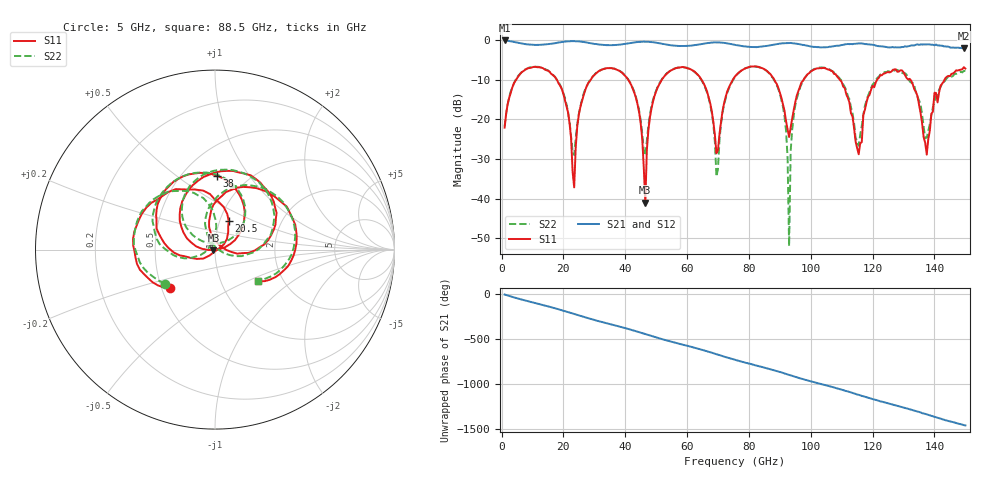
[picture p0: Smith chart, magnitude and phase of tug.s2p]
! hatab_megtron7_step30_4p0mm: multiline TRL calibrated (TUGMultilineTRL, scikit-rf 2.1.0)
! raw data ZiadHatab/verification-multiline-trl-calibration @ 021e735, mean of the repeated sweeps
! reference impedance: characteristic impedance of the 94 um 50 Ohm line,
! NOT 50 Ohm; the R value below is a placeholder required by the format
# Hz S RI R 50
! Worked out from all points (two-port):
!   299 points, 1 GHz to 150 GHz, reference 50 ohm
!   highest |S21| = -0.06 dB at 1 GHz (marker M1); lowest = -2.0 dB at 149.5 GHz (marker M2)
!   |S21| within 3 dB of the highest: start of sweep to end of sweep
!   lowest |S11| = -41.0 dB at 46.5 GHz (marker M3), VSWR 1.02, Z = 49.2 - j0.291 ohm
!   |S11| at or under -10 dB: 17.88 GHz to 28.85 GHz (10.97 GHz wide, 46.9 % of centre); 40.97 GHz to 51.83 GHz (10.86 GHz wide, 23.4 % of centre); 109.4 GHz to 121.4 GHz (12.04 GHz wide, 10.4 % of centre)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
!   |S22| runs from -52.0 to -6.6 dB; largest |S21 - S12| = 0.1
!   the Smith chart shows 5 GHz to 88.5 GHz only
!   S11 on the Smith chart (normalised r, x): 5 GHz: 0.55, -0.27; 20.5 GHz: 1.10, +0.36; 38 GHz: 0.72, +0.72; 88.5 GHz: 1.50, -0.58
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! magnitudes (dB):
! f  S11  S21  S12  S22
! 1 GHz  -22.1  -0.1  -0.1  -21.8
! 5 GHz  -9.6  -0.6  -0.6  -9.4
! 20.5 GHz  -15.1  -0.3  -0.4  -14.6
! 23.5 GHz  -37.2  -0.2  -0.2  -29.0
! 26 GHz  -15.4  -0.4  -0.4  -15.1
! 38 GHz  -7.7  -1.1  -1.1  -7.7
! 44 GHz  -16.3  -0.5  -0.5  -15.9
! 46.5 GHz  -41.0  -0.4  -0.4  -29.1
! 51 GHz  -11.1  -0.8  -0.8  -11.0
! 64.5 GHz  -9.8  -1.0  -1.0  -9.9
! 69.5 GHz  -28.6  -0.5  -0.6  -34.5
! 75.5 GHz  -9.2  -1.2  -1.2  -9.3
! 88.5 GHz  -10.5  -1.1  -1.1  -10.5
! 92 GHz  -20.4  -0.7  -0.7  -22.8
! 93 GHz  -24.5  -0.7  -0.7  -52.0
! 94.5 GHz  -17.6  -0.8  -0.8  -19.0
! 100.5 GHz  -7.7  -1.6  -1.7  -7.6
! 115.5 GHz  -28.8  -0.8  -0.8  -26.6
! 125.5 GHz  -8.1  -1.8  -1.9  -8.0
! 137.5 GHz  -28.9  -1.1  -1.1  -24.6
! 149.5 GHz  -6.8  -2.0  -2.1  -7.8
! 150 GHz  -7.2  -2.0  -2.0  -7.8
